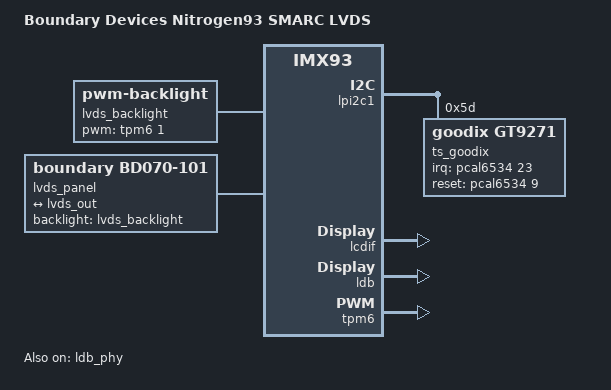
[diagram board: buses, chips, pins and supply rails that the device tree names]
// SPDX-License-Identifier: (GPL-2.0-or-later OR MIT)
/*
 * Copyright 2024 Boundary Devices
 */

/dts-v1/;

#include "imx93-nitrogen-smarc.dts"

/ {
	model = "Boundary Devices Nitrogen93 SMARC LVDS";
	compatible = "fsl,imx93-nitrogen-smarc", "fsl,imx93";

	lvds_backlight: lvds_backlight {
		brightness-levels = <0 1 2 3 4 5 6 7 8 9 10>;
		compatible = "pwm-backlight";
		default-brightness-level = <8>;
		display = <&lcdif>;
		pinctrl-names = "default";
		pinctrl-0 = <&pinctrl_backlight>;
		pwms = <&tpm6 1 30000 0>;       /* 33.3 Khz */
	};

	lvds_panel {
		/* If you know you are only using the BD070LIC3 then use ...
		 * compatible = "tianma,tm070jdhg30";
		 *
		 * And for the BD101LCC3 use ...
		 * compatible = "infovision,ivo-m101nwwb";
		*/
		compatible = "boundary,bd070-101"; /* For BD070LIC3 and BD101LCC3 */
		backlight = <&lvds_backlight>;

		port {
			panel_lvds_in: endpoint {
				remote-endpoint = <&lvds_out>;
			};
		};
	};
};

&dsi_backlight {
	status = "disabled";
};

&dsi0_sn65dsi84{
	status = "disabled";
};

&ts_goodix_dsi {
	status = "disabled";
};

&lpi2c1 {
	ts_goodix: touchscreen@5d {
		compatible = "goodix,gt9271";
		esd-recovery-timeout-ms = <2000>;
		interrupts-extended = <&pcal6534 23 IRQ_TYPE_EDGE_RISING>;
		interrupt-parent = <&pcal6534>;
		interrupts = <23 IRQ_TYPE_EDGE_RISING>; // P2_7
		irq-gpios = <&pcal6534 23 GPIO_ACTIVE_HIGH>;
		reg = <0x5d>;
		reset-gpios = <&pcal6534 9 GPIO_ACTIVE_HIGH>; // P1_1
		status = "okay";
	};

	ts_goodix_alt: touchscreen@14 {
		compatible = "goodix,gt9271";
		esd-recovery-timeout-ms = <2000>;
		interrupts-extended = <&pcal6534 23 IRQ_TYPE_EDGE_RISING>;
		interrupt-parent = <&pcal6534>;
		interrupts = <23 IRQ_TYPE_EDGE_RISING>; // P2_7
		irq-gpios = <&pcal6534 23 GPIO_ACTIVE_HIGH>;
		reg = <0x14>;
		reset-gpios = <&pcal6534 9 GPIO_ACTIVE_HIGH>; // P1_1
		status = "disabled";
	};
};

&dphy {
	status = "disabled";
};

&dsi {
	status = "disabled";
};

&lcdif {
	assigned-clock-rates = <498000000>, <71142857>, <400000000>, <133333333>;
	status = "okay";
};

&ldb {
	status = "okay";

	lvds-channel@0 {
		status = "okay";

		port@1 {
			reg = <1>;

			lvds_out: endpoint {
				remote-endpoint = <&panel_lvds_in>;
			};
		};
	};

};

&ldb_phy {
	status = "okay";
};

&dphy {
	status = "disabled"; /* DSI */
};

&panel_dsi {
	status = "disabled"; /* DSI panel */
};

&tpm5 {
	status = "disabled"; /* DSI backlight */
};

&tpm6 {
	status = "okay";
};

&iomuxc {
	pinctrl_backlight: backlight {
		fsl,pins = <
			MX93_PAD_GPIO_IO23__TPM6_CH1				0x02
		>;
	};

	pinctrl_ts_lvds_gt911: tslvds {
		fsl,pins = <
			MX93_PAD_CCM_CLKO3__GPIO4_IO28				0x31e
		>;
	};
};
